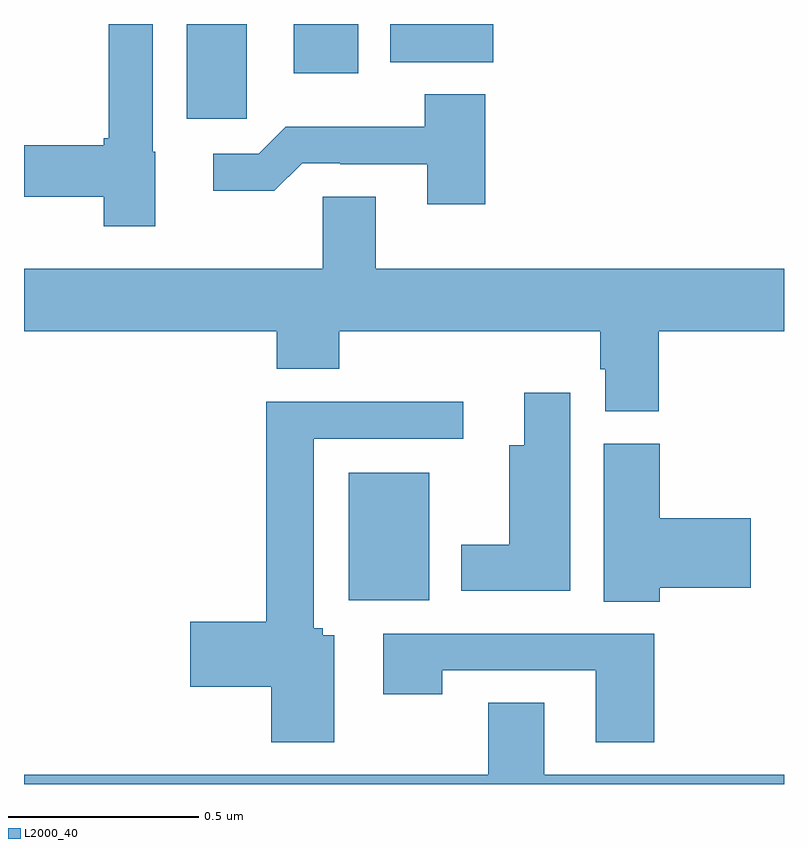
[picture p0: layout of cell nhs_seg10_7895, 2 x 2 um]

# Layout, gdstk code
import gdstk
lib = gdstk.Library(unit=1e-6, precision=1e-09)
def R(c, l, rs):  # rectangles x0, y0, x1, y1
    for r in rs: c.add(gdstk.rectangle(r[:2], r[2:], *l))
def P(c, l, *ps):  # polygons
    for p in ps: c.add(gdstk.Polygon(p, *l))
L2000_40 = (2000, 40)

nhs_seg10_7895 = lib.new_cell('nhs_seg10_7895')
R(nhs_seg10_7895, L2000_40, [(210.854,1256.984,211.066,1257.319), (210.428,1258.251,210.586,1258.5), (210.71,1258.371,210.879,1258.5), (210.964,1258.4,211.235,1258.5)])
P(nhs_seg10_7895, L2000_40, [(210.346,1258.164),(210.339,1258.164),(210.339,1258.5),(210.223,1258.5),(210.223,1258.199),(210.21,1258.199),(210.21,1258.181),(210,1258.181),(210,1258.046),(210.21,1258.046),(210.21,1257.968),(210.346,1257.968)],
  [(211.214,1258.315),(211.054,1258.315),(211.054,1258.229),(210.689,1258.229),(210.618,1258.158),(210.498,1258.158),(210.498,1258.061),(210.659,1258.061),(210.732,1258.134),(210.832,1258.134),(210.832,1258.131),(211.061,1258.131),(211.061,1258.026),(211.214,1258.026)],
  [(211.67,1257.692),(212,1257.692),(212,1257.856),(210.925,1257.856),(210.925,1258.046),(210.786,1258.046),(210.786,1257.856),(210,1257.856),(210,1257.692),(210.665,1257.692),(210.665,1257.593),(210.83,1257.593),(210.83,1257.692),(211.517,1257.692),(211.517,1257.591),(211.529,1257.591),(211.529,1257.481),(211.67,1257.481)],
  [(211.438,1257.529),(211.316,1257.529),(211.316,1257.391),(211.277,1257.391),(211.277,1257.13),(211.151,1257.13),(211.151,1257.008),(211.438,1257.008)],
  [(210.817,1256.892),(210.786,1256.892),(210.786,1256.91),(210.763,1256.91),(210.763,1257.408),(211.156,1257.408),(211.156,1257.506),(210.638,1257.506),(210.638,1256.927),(210.438,1256.927),(210.438,1256.756),(210.65,1256.756),(210.65,1256.61),(210.817,1256.61)],
  [(211.673,1257.017),(211.912,1257.017),(211.912,1257.2),(211.673,1257.2),(211.673,1257.396),(211.526,1257.396),(211.526,1256.98),(211.673,1256.98)],
  [(211.658,1256.895),(210.945,1256.895),(210.945,1256.736),(211.101,1256.736),(211.101,1256.799),(211.505,1256.799),(211.505,1256.61),(211.658,1256.61)],
  [(212,1256.524),(211.369,1256.524),(211.369,1256.714),(211.222,1256.714),(211.222,1256.524),(210,1256.524),(210,1256.5),(212,1256.5)])

lib.write_gds('nhs_seg10_7895.gds')
